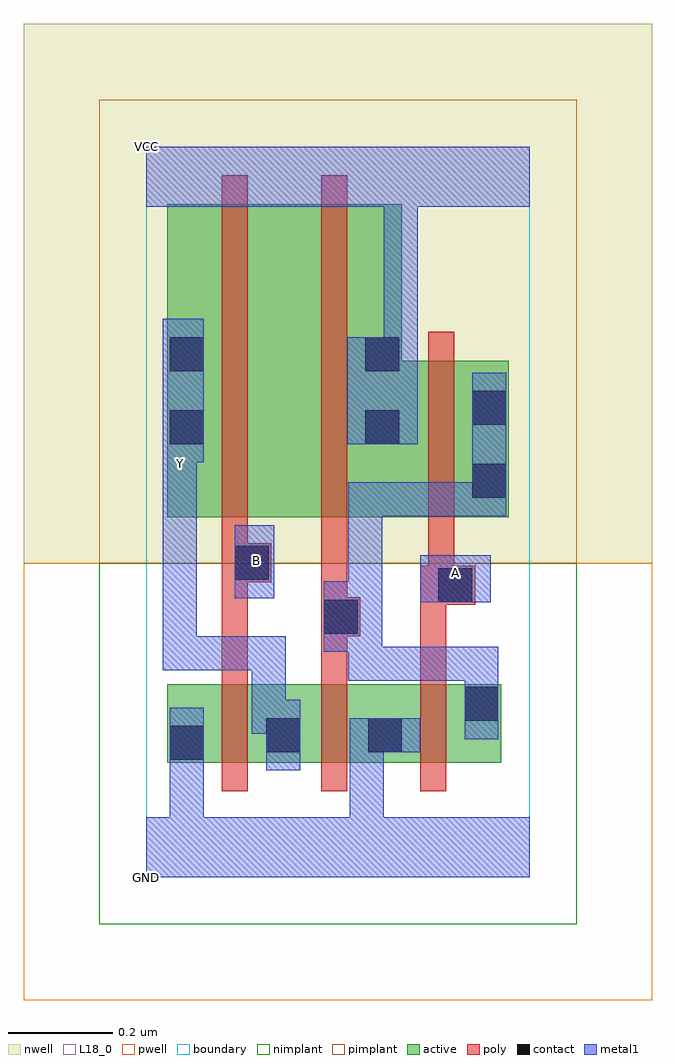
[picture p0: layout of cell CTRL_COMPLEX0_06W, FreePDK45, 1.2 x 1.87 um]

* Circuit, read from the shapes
.subckt CTRL_COMPLEX0_06W A B GND VCC Y
M1 Y B GND VSUBS nfet w=0.15u l=0.05u
M2 GND n1 Y VSUBS nfet w=0.15u l=0.05u
M3 n1 A GND VSUBS nfet w=0.15u l=0.05u
M4 n2 B Y n3 pfet w=0.6u l=0.05u
M5 VCC n1 n2 n3 pfet w=0.6u l=0.05u
M6 n1 A VCC n3 pfet w=0.3u l=0.05u
.ends

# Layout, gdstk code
import gdstk
lib = gdstk.Library(unit=1e-6, precision=1e-09)
def R(c, l, rs):  # rectangles x0, y0, x1, y1
    for r in rs: c.add(gdstk.rectangle(r[:2], r[2:], *l))
def A(c, l, x, y, w, h, nx, ny, dx, dy):  # array of equal rectangles
    R(c, l, [(x+i*dx, y+j*dy, x+i*dx+w, y+j*dy+h) for i in range(nx) for j in range(ny)])
active = (1, 0)
pwell = (2, 0)
nwell = (3, 0)
nimplant = (4, 0)
pimplant = (5, 0)
poly = (9, 0)
contact = (10, 0)
metal1 = (11, 0)
L18_0 = (18, 0)
boundary = (235, 0)

ctrl_complex0_06w = lib.new_cell('CTRL_COMPLEX0_06W')
R(ctrl_complex0_06w, active, [(0.04,0.22,0.3,0.37), (0.04,0.22,0.115,0.37), (0.225,0.22,0.495,0.37), (0.42,0.22,0.68,0.37), (0.225,0.235,0.3,0.31), (0.42,0.235,0.495,0.31), (0.605,0.235,0.68,0.37), (0.04,0.69,0.265,1.29), (0.04,0.69,0.145,1.2), (0.265,0.69,0.49,1.29), (0.415,0.69,0.695,0.99), (0.62,0.69,0.695,0.957), (0.415,0.825,0.49,1.115)])
R(ctrl_complex0_06w, pwell, [(-0.235,-0.235,0.97,0.602)])
R(ctrl_complex0_06w, nwell, [(-0.235,0.602,0.97,1.635)])
R(ctrl_complex0_06w, nimplant, [(-0.09,-0.09,0.825,0.602)])
R(ctrl_complex0_06w, pimplant, [(-0.09,0.602,0.825,1.49)])
A(ctrl_complex0_06w, poly, 0.145, 0.165, 0.05, 0.26, 3, 1, 0.19, 0)
R(ctrl_complex0_06w, poly, [(0.145,0.375,0.195,0.615), (0.335,0.375,0.385,0.512), (0.525,0.375,0.575,0.572), (0.335,0.462,0.41,0.537), (0.335,0.487,0.385,0.685), (0.525,0.522,0.63,0.597), (0.54,0.547,0.59,0.685), (0.145,0.565,0.24,0.64), (0.145,0.59,0.195,0.685), (0.145,0.635,0.195,1.345), (0.335,0.635,0.385,1.345), (0.54,0.635,0.59,1.045)])
R(ctrl_complex0_06w, contact, [(0.045,0.225,0.11,0.29), (0.23,0.24,0.295,0.305), (0.425,0.24,0.49,0.305), (0.61,0.3,0.675,0.365), (0.34,0.467,0.405,0.532), (0.56,0.527,0.625,0.592), (0.17,0.57,0.235,0.635), (0.625,0.727,0.69,0.792), (0.045,0.83,0.11,0.895), (0.42,0.83,0.485,0.895), (0.625,0.867,0.69,0.932), (0.045,0.97,0.11,1.035), (0.42,0.97,0.485,1.035)])
R(ctrl_complex0_06w, metal1, [(0,0,0.735,0.115), (0.045,0.05,0.11,0.115), (0.045,0.05,0.11,0.115), (0.045,0.05,0.11,0.115), (0.045,0.05,0.11,0.115), (0.045,0.05,0.11,0.255), (0.39,0.05,0.455,0.115), (0.39,0.05,0.455,0.115), (0.39,0.05,0.455,0.305), (0.045,0.19,0.11,0.325), (0.23,0.205,0.295,0.34), (0.39,0.24,0.455,0.305), (0.39,0.24,0.455,0.305), (0.39,0.24,0.525,0.305), (0.61,0.265,0.675,0.4), (0.202,0.275,0.295,0.34), (0.202,0.275,0.267,0.462), (0.61,0.335,0.675,0.4), (0.61,0.335,0.675,0.442), (0.387,0.377,0.452,0.442), (0.387,0.377,0.675,0.442), (0.387,0.377,0.452,0.497), (0.032,0.397,0.097,0.462), (0.032,0.397,0.267,0.462), (0.032,0.397,0.097,0.79), (0.34,0.432,0.405,0.567), (0.34,0.432,0.452,0.497), (0.387,0.432,0.452,0.497), (0.387,0.432,0.452,0.757), (0.525,0.527,0.66,0.617), (0.17,0.535,0.245,0.675), (0.387,0.692,0.452,0.757), (0.387,0.692,0.69,0.757), (0.625,0.692,0.69,0.757), (0.625,0.692,0.69,0.757), (0.625,0.692,0.69,0.967), (0.032,0.725,0.097,0.86), (0.032,0.795,0.097,0.86), (0.032,0.795,0.11,1.07), (0.385,0.83,0.52,1.035), (0.455,0.97,0.52,1.35), (0,1.285,0.735,1.4)])
R(ctrl_complex0_06w, L18_0, [(0,0,0.735,0.115), (0.045,0.05,0.11,0.115), (0.045,0.05,0.11,0.115), (0.045,0.05,0.11,0.115), (0.045,0.05,0.11,0.115), (0.045,0.05,0.11,0.255), (0.39,0.05,0.455,0.115), (0.39,0.05,0.455,0.115), (0.39,0.05,0.455,0.305), (0.045,0.19,0.11,0.325), (0.23,0.205,0.295,0.34), (0.39,0.24,0.455,0.305), (0.39,0.24,0.455,0.305), (0.39,0.24,0.525,0.305), (0.202,0.275,0.267,0.462), (0.202,0.275,0.295,0.34), (0.032,0.397,0.097,0.462), (0.032,0.397,0.097,0.79), (0.032,0.397,0.267,0.462), (0.525,0.527,0.66,0.617), (0.17,0.535,0.245,0.675), (0.56,0.552,0.625,0.617), (0.18,0.575,0.245,0.64), (0.032,0.725,0.097,0.86), (0.032,0.76,0.097,0.825), (0.032,0.795,0.097,0.86), (0.032,0.795,0.11,1.07), (0.385,0.83,0.52,1.035), (0.455,0.97,0.52,1.35), (0,1.285,0.735,1.4)])
R(ctrl_complex0_06w, boundary, [(0,0,0.735,1.4)])
ctrl_complex0_06w.add(gdstk.Label('A', (0.592,0.585), layer=11, texttype=0))
ctrl_complex0_06w.add(gdstk.Label('B', (0.212,0.607), layer=11, texttype=0))
ctrl_complex0_06w.add(gdstk.Label('Y', (0.065,0.792), layer=11, texttype=0))
ctrl_complex0_06w.add(gdstk.Label('VCC', (0,1.4), layer=11, texttype=0))
ctrl_complex0_06w.add(gdstk.Label('GND', (0,0), layer=11, texttype=0))

lib.write_gds('CTRL_COMPLEX0_06W.gds')
